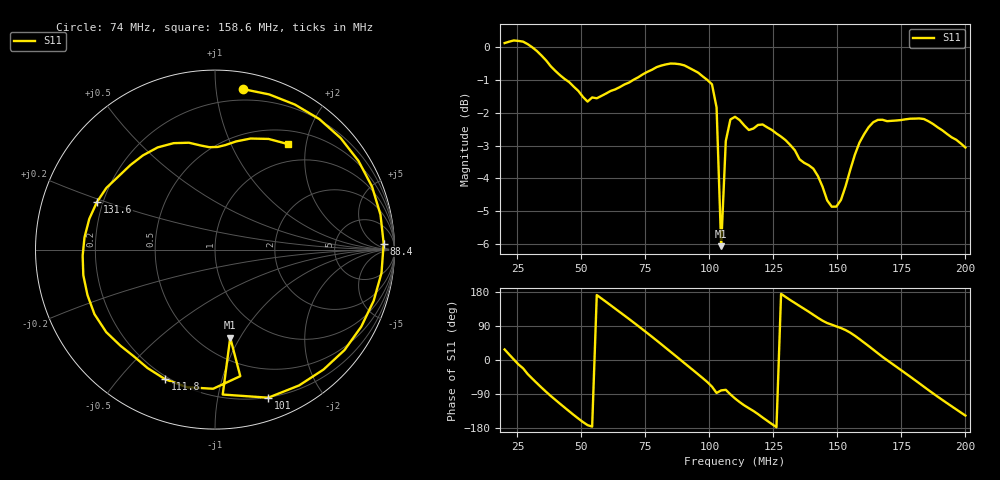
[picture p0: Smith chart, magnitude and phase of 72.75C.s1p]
# HZ S RI R 50
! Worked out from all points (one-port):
!   101 points, 20 MHz to 200 MHz, reference 50 ohm
!   lowest |S11| = -6.1 dB at 104.6 MHz (marker M1), VSWR 2.98, Z = 34.9 - j45.5 ohm
!   |S11| at or under -10 dB: nowhere
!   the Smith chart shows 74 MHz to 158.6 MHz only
!   S11 on the Smith chart (normalised r, x): 74 MHz: 0.12, +1.18; 88.4 MHz: 24, +14; 101 MHz: 0.20, -1.40; 111.8 MHz: 0.19, -0.67; 131.6 MHz: 0.18, +0.19; 158.6 MHz: 0.70, +1.69
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2e7  0.8953 0.4727
2.36e7  1.022 0.0242
2.72e7  0.9447 -0.3786
3.26e7  0.4773 -0.8614
3.8e7  -0.0766 -0.9309
4.34e7  -0.515 -0.7302
5.42e7  -0.8351 -0.0615
6.5e7  -0.5152 0.6988
7.4e7  0.1537 0.8947
8.12e7  0.6996 0.6219
8.84e7  0.9398 0.0335
9.38e7  0.815 -0.4292
1.01e8  0.2966 -0.8251
1.028e8  0.043 -0.8075
1.046e8  0.0848 -0.4908
1.064e8  0.1409 -0.7051
1.1e8  -0.1553 -0.767
1.118e8  -0.2775 -0.7223
1.226e8  -0.7107 -0.2525
1.316e8  -0.6577 0.2649
1.334e8  -0.6055 0.3434
1.424e8  -0.2304 0.5931
1.55e8  0.1982 0.6188
1.586e8  0.407 0.5876
1.676e8  0.7662 0.1137
1.784e8  0.5611 -0.538
1.874e8  0.0233 -0.7627
2e8  -0.5867 -0.3873
